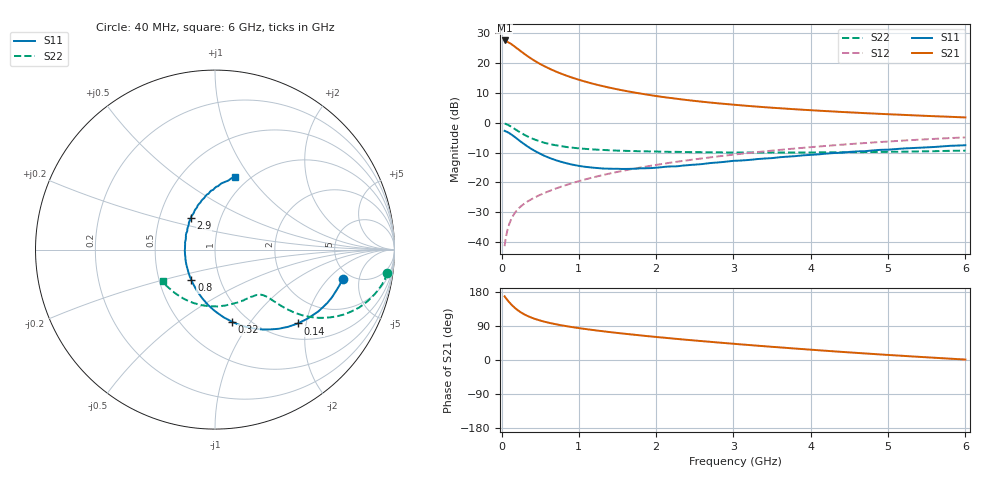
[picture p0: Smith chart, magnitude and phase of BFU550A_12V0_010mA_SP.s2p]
! Filename:  P:\Prog\Test\Noise\ATS_data\Testdata_Net\03 Spar\BFU550A_APG2013_35_C05_12p0V_010mA_SP_CM01_D.s2p
! Date/Time: Tue 16/Apr/2013 15:10:23
! BFU550A_APG2013_35_C05_12p0V_1to35mA_SP_CM01_Bias5_R.s2p
! MDIF S-parameter v. bias file
! BFU550A_APG2013_35_C05_12p0V_1to35mA_SP_CM01
! Date/time Mon Apr 15 17:55:46 2013
! VAR V_out= 12.0010
! VAR I_out= 9.9950
! VAR V_in= 0.7987
! VAR I_in= 0.0901
! Device data file deembeded for feedlines and parallel
! Original file: \03 Spar\BFU550A_APG2013_35_C05_12p0V_010mA_SP_CM01_R.s2p
! Feed-files: PR017V01_150413_Feed1.s2p, PR017V01_150413_Feed2.s2p
! Parallel-file: PR017V01_150413_Par.s2p
# MHz S MA R 50
!  Freq-MHz  S11-mag  S11-arg  S21-mag  S21-arg  S12-mag  S12-arg  S22-mag  S22-arg
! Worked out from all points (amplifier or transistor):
!   98 points, 40 MHz to 6 GHz, reference 50 ohm
!   highest |S21| = 27.7 dB at 40 MHz (marker M1)
!   |S21| within 3 dB of that: start of sweep to 218.7 MHz
!   unconditionally stable (mu >= 1): 1.396 GHz to 2.333 GHz
!   at 300 MHz: K = 0.60, MSG = 25.1 dB, |S12| = -27.1 dB
!   at 1.6 GHz: K = 1.01, MAG = 12.9 dB, |S12| = -16.0 dB
!   at 6 GHz: K = 0.91, MSG = 3.4 dB, |S12| = -4.9 dB
!   S11 on the Smith chart (normalised r, x): 40 MHz: 4.26, -2.98; 140 MHz: 1.34, -1.79; 320 MHz: 0.85, -0.82; 800 MHz: 0.73, -0.26; 2.9 GHz: 0.72, +0.27; 6 GHz: 0.87, +0.85
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40  0.7305 -12.9  24.16 168.0  0.008434 81.5  0.969 -7.8
60  0.7119 -19.2  23.45 162.3  0.01251 78.9  0.9497 -12.0
90  0.6815 -28.1  22.36 154.8  0.01806 75.6  0.9105 -17.2
120  0.6435 -36.7  21.29 147.9  0.02309 72.7  0.867 -21.8
140  0.6183 -41.8  20.4 143.8  0.02605 71.1  0.8348 -24.4
180  0.5654 -51.3  18.64 136.3  0.0315 68.3  0.7732 -28.8
220  0.5161 -59.6  17.05 129.9  0.03615 66.7  0.7169 -32.0
240  0.4918 -63.4  16.28 127.1  0.03827 66.0  0.691 -33.4
280  0.4507 -70.4  14.88 122.1  0.04225 65.2  0.6443 -35.5
320  0.4137 -76.6  13.64 117.8  0.04593 64.7  0.6044 -37.1
400  0.3548 -87.5  11.61 110.9  0.05295 64.5  0.5411 -39.0
500  0.3016 -99.2  9.718 104.2  0.06144 64.8  0.4854 -40.4
650  0.2482 -114.4  7.784 96.6  0.07404 65.7  0.4315 -41.3
800  0.2154 -127.6  6.471 90.7  0.08686 66.5  0.3992 -42.0
1050  0.1844 -147.7  5.049 82.8  0.1087 67.2  0.3669 -43.6
1500  0.1685 -177.8  3.644 71.4  0.1494 66.5  0.3401 -48.5
2050  0.1778 155.4  2.753 59.8  0.2002 64.0  0.3266 -56.8
2900  0.2214 127.4  2.066 44.5  0.2814 58.3  0.3171 -73.4
3100  0.2321 122.1  1.963 41.2  0.3012 56.7  0.3163 -77.4
4100  0.2942 101.7  1.596 25.7  0.3987 47.8  0.3176 -100.7
5200  0.3695 84.8  1.356 10.9  0.5026 36.5  0.3264 -127.8
6000  0.4186 74.3  1.229 1.3  0.567 27.6  0.3396 -149.3
